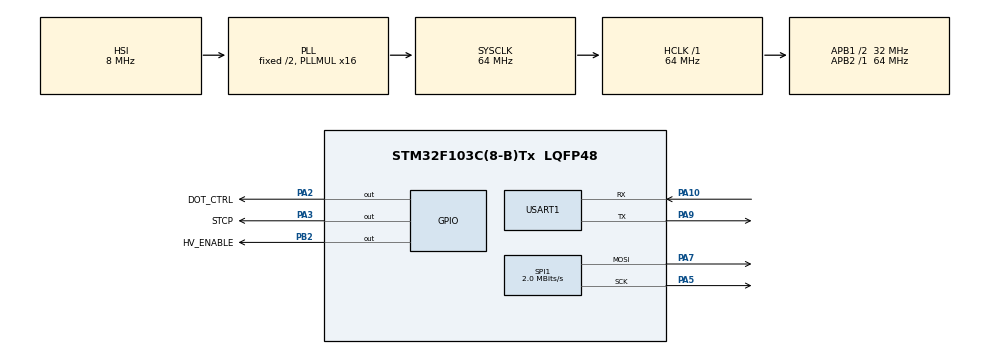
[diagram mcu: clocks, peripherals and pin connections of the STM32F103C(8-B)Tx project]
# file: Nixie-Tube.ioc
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Mcu.Family=STM32F1
Mcu.Name=STM32F103C(8-B)Tx
Mcu.Package=LQFP48
NVIC.PriorityGroup=NVIC_PRIORITYGROUP_4
PA10.Mode=Asynchronous
PA10.Signal=USART1_RX
PA13.Mode=Serial_Wire
PA13.Signal=SYS_JTMS-SWDIO
PA14.Mode=Serial_Wire
PA14.Signal=SYS_JTCK-SWCLK
PA2.GPIO_Label=DOT_CTRL
PA2.Signal=GPIO_Output
PA3.GPIO_Label=STCP
PA3.Signal=GPIO_Output
PA5.Mode=TX_Only_Simplex_Unidirect_Master
PA5.Signal=SPI1_SCK
PA7.Mode=TX_Only_Simplex_Unidirect_Master
PA7.Signal=SPI1_MOSI
PA9.Mode=Asynchronous
PA9.Signal=USART1_TX
PB2.GPIO_Label=HV_ENABLE
PB2.Signal=GPIO_Output
PC14-OSC32_IN.Mode=LSE-External-Oscillator
PC14-OSC32_IN.Signal=RCC_OSC32_IN
PC15-OSC32_OUT.Mode=LSE-External-Oscillator
PC15-OSC32_OUT.Signal=RCC_OSC32_OUT
ProjectManager.HeapSize=0x200
ProjectManager.StackSize=0x400
ProjectManager.TargetToolchain=MDK-ARM V5.32
RCC.AHBFreq_Value=64000000
RCC.APB1CLKDivider=RCC_HCLK_DIV2
RCC.APB1Freq_Value=32000000
RCC.APB1TimFreq_Value=64000000
RCC.APB2Freq_Value=64000000
RCC.APB2TimFreq_Value=64000000
RCC.HCLKFreq_Value=64000000
RCC.PLLMUL=RCC_PLL_MUL16
RCC.RTCClockSelection=RCC_RTCCLKSOURCE_LSE
RCC.SYSCLKFreq_VALUE=64000000
RCC.SYSCLKSource=RCC_SYSCLKSOURCE_PLLCLK
RCC.USBFreq_Value=64000000
RTC.Date=4
RTC.Format=RTC_FORMAT_BIN
RTC.Hours=22
RTC.Minutes=55
RTC.Month=RTC_MONTH_JULY
RTC.WeekDay=RTC_WEEKDAY_FRIDAY
RTC.Year=25
SPI1.BaudRatePrescaler=SPI_BAUDRATEPRESCALER_32
SPI1.CalculateBaudRate=2.0 MBits/s
SPI1.Direction=SPI_DIRECTION_2LINES
SPI1.Mode=SPI_MODE_MASTER
SPI1.VirtualType=VM_MASTER
USART1.VirtualMode=VM_ASYNC
VP_RTC_VS_RTC_Activate.Mode=RTC_Enabled
VP_RTC_VS_RTC_Calendar.Mode=RTC_Calendar
board=custom

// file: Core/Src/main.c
/* USER CODE BEGIN Header */
/**
  ******************************************************************************
  * @file           : main.c
  * @brief          : Main program body
  ******************************************************************************
  * @attention
  *
  * Copyright (c) 2025 STMicroelectronics.
  * All rights reserved.
  *
  * This software is licensed under terms that can be found in the LICENSE file
  * in the root directory of this software component.
  * If no LICENSE file comes with this software, it is provided AS-IS.
  *
  ******************************************************************************
  */
/* USER CODE END Header */
#include "main.h"
#include "rtc.h"
#include "spi.h"
#include "usart.h"
#include "gpio.h"

/* USER CODE BEGIN Includes */
#include "hal_port.h"
/* USER CODE END Includes */

void SystemClock_Config(void);
/* USER CODE BEGIN PFP */

RTC_TimeTypeDef sTime = {0};
uint8_t lastMinute = 0;
uint8_t isTriggered = 0;

void GetTime(void)
{
  HAL_RTC_GetTime(&hrtc, &sTime, RTC_FORMAT_BIN);

  if (sTime.Minutes != lastMinute)
  {
    lastMinute = sTime.Minutes;
    isTriggered = 1;
  }
}

/* USER CODE END PFP */

int main(void)
{

  /* MCU Configuration--------------------------------------------------------*/

  /* Reset of all peripherals, Initializes the Flash interface and the Systick. */
  HAL_Init();

  /* Configure the system clock */
  SystemClock_Config();

  /* Initialize all configured peripherals */
  MX_GPIO_Init();
  MX_USART1_UART_Init();
  MX_SPI1_Init();
  MX_RTC_Init();
  /* USER CODE BEGIN 2 */

  uint8_t array[] = "Hello, STM32!\r\n";
  HAL_UART_Transmit(&huart1, array, sizeof(array), 1000);

  /* USER CODE END 2 */

  /* Infinite loop */
  /* USER CODE BEGIN WHILE */

  //hal_HV_Enable();
  hal_Time_Dsiable();
  HAL_Delay(1000);

 // hal_Time_Output(19, 28);

  while (1)
  {
    /* USER CODE END WHILE */

    /* USER CODE BEGIN 3 */

    #define TIME_EXEC_GAP (5)

    HAL_Delay(TIME_EXEC_GAP);
    GetTime();

    if (isTriggered)
    {
      hal_Time_Loop(TIME_EXEC_GAP);
      isTriggered = 0;
    }
    else
    {
      hal_Time_Output(sTime.Hours, sTime.Minutes);
    }

    //hal_DOT_CTRL_Trigger();
  }
  /* USER CODE END 3 */
}

void SystemClock_Config(void)
{
  RCC_OscInitTypeDef RCC_OscInitStruct = {0};
  RCC_ClkInitTypeDef RCC_ClkInitStruct = {0};
  RCC_PeriphCLKInitTypeDef PeriphClkInit = {0};

  /** Initializes the RCC Oscillators according to the specified parameters
  * in the RCC_OscInitTypeDef structure.
  */
  RCC_OscInitStruct.OscillatorType = RCC_OSCILLATORTYPE_HSI|RCC_OSCILLATORTYPE_LSE;
  RCC_OscInitStruct.LSEState = RCC_LSE_ON;
  RCC_OscInitStruct.HSIState = RCC_HSI_ON;
  RCC_OscInitStruct.HSICalibrationValue = RCC_HSICALIBRATION_DEFAULT;
  RCC_OscInitStruct.PLL.PLLState = RCC_PLL_ON;
  RCC_OscInitStruct.PLL.PLLSource = RCC_PLLSOURCE_HSI_DIV2;
  RCC_OscInitStruct.PLL.PLLMUL = RCC_PLL_MUL16;
  if (HAL_RCC_OscConfig(&RCC_OscInitStruct) != HAL_OK)
  {
    Error_Handler();
  }

  /** Initializes the CPU, AHB and APB buses clocks
  */
  RCC_ClkInitStruct.ClockType = RCC_CLOCKTYPE_HCLK|RCC_CLOCKTYPE_SYSCLK
                              |RCC_CLOCKTYPE_PCLK1|RCC_CLOCKTYPE_PCLK2;
  RCC_ClkInitStruct.SYSCLKSource = RCC_SYSCLKSOURCE_PLLCLK;
  RCC_ClkInitStruct.AHBCLKDivider = RCC_SYSCLK_DIV1;
  RCC_ClkInitStruct.APB1CLKDivider = RCC_HCLK_DIV2;
  RCC_ClkInitStruct.APB2CLKDivider = RCC_HCLK_DIV1;

  if (HAL_RCC_ClockConfig(&RCC_ClkInitStruct, FLASH_LATENCY_2) != HAL_OK)
  {
    Error_Handler();
  }
  PeriphClkInit.PeriphClockSelection = RCC_PERIPHCLK_RTC;
  PeriphClkInit.RTCClockSelection = RCC_RTCCLKSOURCE_LSE;
  if (HAL_RCCEx_PeriphCLKConfig(&PeriphClkInit) != HAL_OK)
  {
    Error_Handler();
  }
}

void Error_Handler(void)
{
  __disable_irq();
  while (1)
  {
  }
}
